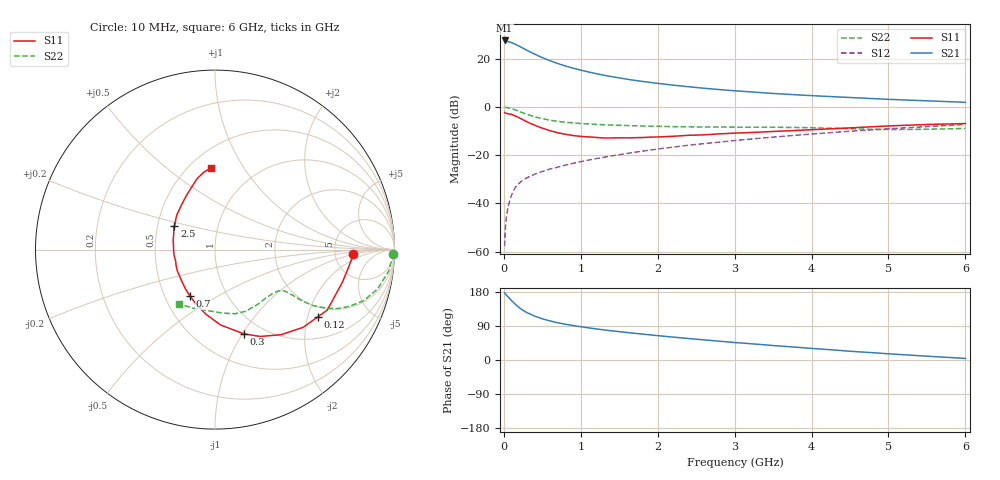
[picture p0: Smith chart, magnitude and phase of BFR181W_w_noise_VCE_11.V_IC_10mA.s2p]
! Infineon Technologies  Discrete & RF Semiconductors
! BFR181W
! VCE =  11. V,  IC =  10 mA
! Common Emitter S-Parameters:  Jan 2017
# GHz  S  MA  R  50
!  f  S11  S21  S12  S22
! GHz  MAG  ANG  MAG  ANG  MAG  ANG  MAG  ANG
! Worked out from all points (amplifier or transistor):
!   77 points, 10 MHz to 6 GHz, reference 50 ohm
!   highest |S21| = 27.7 dB at 10 MHz (marker M1)
!   |S21| within 3 dB of that: start of sweep to 236.4 MHz
!   unconditionally stable (mu >= 1): 1.102 GHz to 3.107 GHz
!   at 130 MHz: K = 0.26, MSG = 30.4 dB, |S12| = -34.5 dB
!   at 2.2 GHz: K = 1.06, MAG = 11.4 dB, |S12| = -16.6 dB
!   at 6 GHz: K = 0.86, MSG = 4.6 dB, |S12| = -7.2 dB
!   lowest NFmin = 1.24 dB at 450 MHz
!   S11 on the Smith chart (normalised r, x): 10 MHz: 7.63, -0.96; 120 MHz: 1.64, -2.31; 300 MHz: 0.81, -1.01; 700 MHz: 0.67, -0.38; 2.5 GHz: 0.61, +0.18; 6 GHz: 0.63, +0.73
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0.01  0.7714 -1.9  24.17 176.9  0.0013 83.1  0.991 -1.3
0.03  0.7449 -9.3  23.41 172.0  0.0047 87.0  0.9832 -4.2
0.05  0.7328 -14.3  23.08 167.8  0.0077 83.1  0.9743 -7.2
0.09  0.7116 -25.4  21.98 158.9  0.0134 77.2  0.9391 -12.4
0.12  0.6839 -33.3  21.07 152.9  0.0175 74.1  0.9079 -15.7
0.15  0.6545 -41.5  20.17 146.8  0.0217 71.7  0.8747 -19.0
0.2  0.6001 -52.2  18.34 138.1  0.0263 67.3  0.8135 -22.9
0.25  0.5456 -62.5  16.68 130.9  0.0306 65.1  0.7576 -25.7
0.3  0.4956 -71.2  15.09 124.9  0.0341 63.2  0.7063 -27.6
0.4  0.4211 -85.7  12.57 115.6  0.0404 62.0  0.6293 -29.7
0.5  0.3651 -97.7  10.62 108.7  0.0462 61.6  0.574 -30.4
0.6  0.3239 -108.4  9.173 103.1  0.0519 61.9  0.5352 -30.5
0.7  0.294 -118.4  8.029 98.4  0.0567 63.0  0.5065 -30.4
0.9  0.2571 -135.4  6.428 90.9  0.0681 63.8  0.4706 -30.6
1.1  0.2412 -150.2  5.367 84.9  0.0797 65.3  0.4475 -30.9
1.6  0.2304 -179.2  3.798 72.5  0.1093 66.7  0.4151 -34.5
2.1  0.2437 161.3  2.981 62.4  0.1413 66.1  0.396 -40.9
2.5  0.2625 149.5  2.555 54.9  0.1679 64.8  0.3882 -47.4
3.1  0.2923 134.8  2.128 44.7  0.2094 62.1  0.3834 -57.4
4.1  0.3454 116.5  1.699 29.2  0.2836 55.9  0.37 -74.5
5.1  0.4123 103.0  1.43 15.1  0.3619 48.1  0.3422 -98.8
6  0.4562 92.6  1.258 4.1  0.4344 40.0  0.3619 -123.2
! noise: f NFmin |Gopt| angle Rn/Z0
0.45  1.24  0.15  16  0.21
0.9  1.29  0.14  31  0.21
1.9  1.71  0.03  142  0.2
2.4  1.88  0.02  -166  0.24
